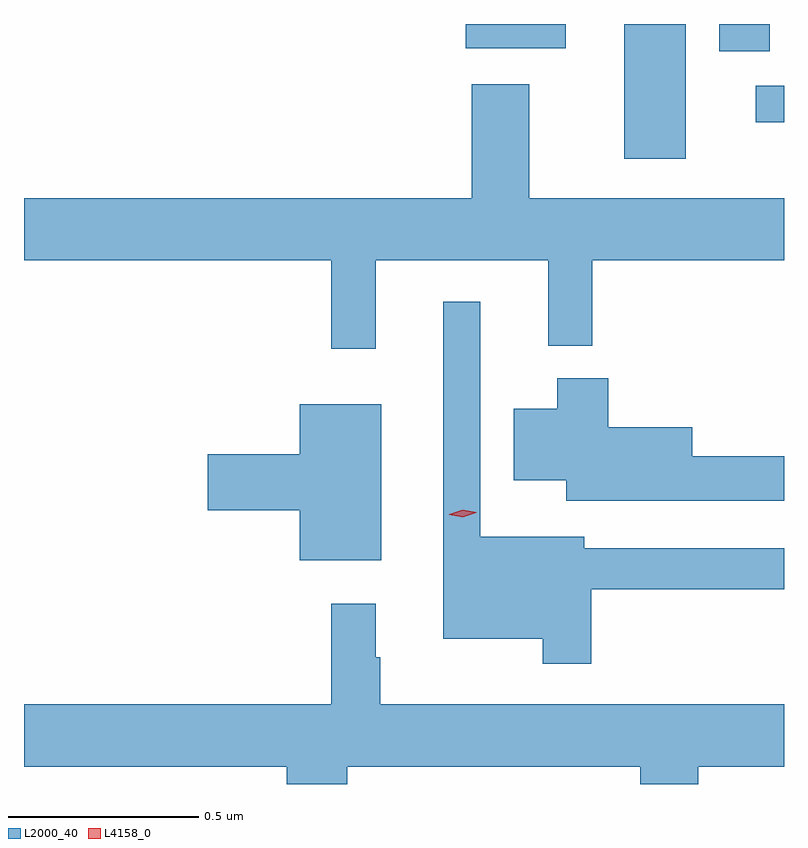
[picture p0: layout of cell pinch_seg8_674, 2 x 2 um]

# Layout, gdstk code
import gdstk
lib = gdstk.Library(unit=1e-6, precision=1e-09)
def R(c, l, rs):  # rectangles x0, y0, x1, y1
    for r in rs: c.add(gdstk.rectangle(r[:2], r[2:], *l))
def P(c, l, *ps):  # polygons
    for p in ps: c.add(gdstk.Polygon(p, *l))
L2000_40 = (2000, 40)
L4158_0 = (4158, 0)

pinch_seg8_674 = lib.new_cell('pinch_seg8_674')
R(pinch_seg8_674, L2000_40, [(335.819,1091.46,335.98,1091.814), (336.165,1091.555,336.239,1091.652), (336.068,1091.742,336.202,1091.814), (335.402,1091.75,335.665,1091.814)])
P(pinch_seg8_674, L2000_40, [(335.165,1091.192),(335.618,1091.192),(335.618,1090.967),(335.735,1090.967),(335.735,1091.192),(336.239,1091.192),(336.239,1091.356),(335.569,1091.356),(335.569,1091.656),(335.417,1091.656),(335.417,1091.356),(334.239,1091.356),(334.239,1091.192),(335.047,1091.192),(335.047,1090.959),(335.165,1090.959)],
  [(335.732,1090.326),(336.239,1090.326),(336.239,1090.434),(335.713,1090.434),(335.713,1090.465),(335.439,1090.465),(335.439,1091.083),(335.342,1091.083),(335.342,1090.196),(335.604,1090.196),(335.604,1090.131),(335.732,1090.131)],
  [(335.894,1090.56),(336.239,1090.56),(336.239,1090.676),(335.998,1090.676),(335.998,1090.753),(335.777,1090.753),(335.777,1090.882),(335.642,1090.882),(335.642,1090.801),(335.528,1090.801),(335.528,1090.613),(335.666,1090.613),(335.666,1090.559),(335.894,1090.559)],
  [(335.179,1090.813),(334.964,1090.813),(334.964,1090.682),(334.722,1090.682),(334.722,1090.535),(334.964,1090.535),(334.964,1090.403),(335.179,1090.403)],
  [(335.176,1090.148),(335.164,1090.148),(335.164,1090.288),(335.047,1090.288),(335.047,1090.024),(334.239,1090.024),(334.239,1089.86),(334.93,1089.86),(334.93,1089.814),(335.09,1089.814),(335.09,1089.86),(335.861,1089.86),(335.861,1089.814),(336.013,1089.814),(336.013,1089.86),(336.239,1089.86),(336.239,1090.024),(335.176,1090.024)])
P(pinch_seg8_674, L4158_0, [(335.394,1090.516),(335.358,1090.523),(335.358,1090.523),(335.358,1090.524),(335.393,1090.536),(335.429,1090.529),(335.429,1090.528),(335.429,1090.528)])

lib.write_gds('pinch_seg8_674.gds')
